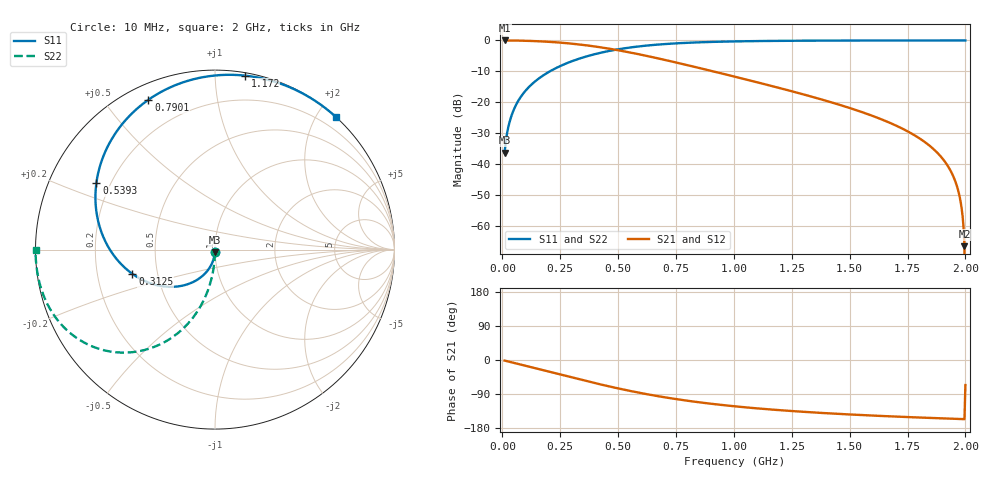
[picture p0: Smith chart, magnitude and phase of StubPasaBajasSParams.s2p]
! Created Sat Nov 25 13:53:57 2023
# hz S ri R 50
! 2 Port Network Data from SP1.SP block
! freq  reS11  imS11  reS21  imS21  reS12  imS12  reS22  imS22
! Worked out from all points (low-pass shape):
!   501 points, 10 MHz to 2 GHz, reference 50 ohm
!   highest |S21| = 0.00 dB at 10 MHz (marker M1); lowest = -66.5 dB at 1.996 GHz (marker M2)
!   |S21| within 3 dB of the highest: start of sweep to 488.1 MHz
!   lowest |S11| = -36.3 dB at 10 MHz (marker M3), VSWR 1.03, Z = 49.9 - j1.53 ohm
!   |S11| at or under -10 dB: start of sweep to 205 MHz
!   |S22| runs from -36.3 to 0.0 dB; largest |S21 - S12| = 1e-15
!   S11 on the Smith chart (normalised r, x): 10 MHz: 1.00, -0.03; 312.5 MHz: 0.36, -0.13; 539.3 MHz: 0.15, +0.26; 790.1 MHz: 0.06, +0.65; 1.172 GHz: 0.02, +1.19; 2 GHz: 0.00, +2.26
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1e7  -0.000645 -0.0153  0.9995 -0.0266  0.9995 -0.0266  -0.000171 -0.0153
2.592e7  -0.00433 -0.0395  0.9968 -0.0689  0.9968 -0.0689  -0.00115 -0.0397
4.184e7  -0.0112 -0.0632  0.9917 -0.111  0.9917 -0.111  -0.003 -0.0641
9.358e7  -0.0551 -0.1328  0.959 -0.2444  0.959 -0.2444  -0.0152 -0.1429
1.8114e8  -0.1919 -0.203  0.8497 -0.4472  0.8497 -0.4472  -0.0587 -0.2731
3.1248e8  -0.4597 -0.1355  0.5882 -0.6514  0.5882 -0.6514  -0.1816 -0.4436
3.4432e8  -0.5181 -0.086  0.5153 -0.6772  0.5153 -0.6772  -0.221 -0.4765
4.4382e8  -0.6432 0.1288  0.2921 -0.696  0.2921 -0.696  -0.3585 -0.5493
5.3934e8  -0.661 0.3705  0.113 -0.6427  0.113 -0.6427  -0.495 -0.5738
6.7466e8  -0.5415 0.6673  -0.0507 -0.5088  -0.0507 -0.5088  -0.6624 -0.5475
7.9008e8  -0.3705 0.8351  -0.1167 -0.3895  -0.1167 -0.3895  -0.7686 -0.4938
1.005e9  -0.0418 0.9649  -0.1385 -0.2192  -0.1385 -0.2192  -0.8893 -0.3766
1.17216e9  0.1665 0.9694  -0.1187 -0.1356  -0.1187 -0.1356  -0.939 -0.2929
1.33932e9  0.3276 0.9368  -0.0914 -0.0817  -0.0914 -0.0817  -0.9677 -0.2201
1.66966e9  0.5429 0.8385  -0.0404 -0.0247  -0.0404 -0.0247  -0.9937 -0.1011
1.83284e9  0.6149 0.7883  -0.0192 -0.01  -0.0192 -0.01  -0.9985 -0.0499
1.92836e9  0.6497 0.7601  -0.00797 -0.00378  -0.00797 -0.00378  -0.9997 -0.0212
1.95622e9  0.6591 0.7521  -0.00483 -0.00223  -0.00483 -0.00223  -0.9999 -0.0129
1.97612e9  0.6655 0.7464  -0.00262 -0.00118  -0.00262 -0.00118  -1 -0.00703
1.98806e9  0.6693 0.743  -0.0013 -0.000583  -0.0013 -0.000583  -1 -0.00351
1.99602e9  0.6718 0.7408  -0.000433 -0.000192  -0.000433 -0.000192  -1 -0.00117
2e9  0.673 0.7396  3.06e-12 -6.92e-12  3.06e-12 -6.92e-12  -1 -2.29e-17
